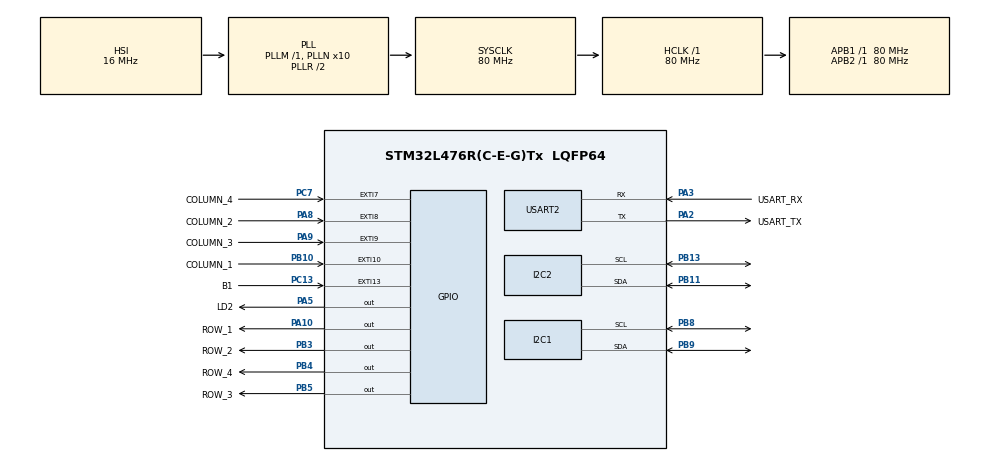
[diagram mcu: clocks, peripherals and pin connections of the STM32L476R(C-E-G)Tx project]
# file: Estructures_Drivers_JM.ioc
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I2C1.Timing=0x10909CEC
I2C2.Timing=0x10909CEC
Mcu.Family=STM32L4
Mcu.Name=STM32L476R(C-E-G)Tx
Mcu.Package=LQFP64
NVIC.EXTI15_10_IRQn=true\:0\:0\:false\:false\:true\:true\:true\:true
NVIC.EXTI9_5_IRQn=true\:0\:0\:false\:false\:true\:true\:true\:true
NVIC.PriorityGroup=NVIC_PRIORITYGROUP_4
NVIC.USART2_IRQn=true\:0\:0\:false\:false\:true\:true\:true\:true
PA10.GPIO_Label=ROW_1
PA10.Signal=GPIO_Output
PA13\ (JTMS-SWDIO).GPIO_Label=TMS
PA13\ (JTMS-SWDIO).Mode=Serial_Wire
PA13\ (JTMS-SWDIO).Signal=SYS_JTMS-SWDIO
PA14\ (JTCK-SWCLK).GPIO_Label=TCK
PA14\ (JTCK-SWCLK).Mode=Serial_Wire
PA14\ (JTCK-SWCLK).Signal=SYS_JTCK-SWCLK
PA2.GPIO_Label=USART_TX
PA2.GPIO_Mode=GPIO_MODE_AF_PP
PA2.GPIO_PuPd=GPIO_NOPULL
PA2.GPIO_Speed=GPIO_SPEED_FREQ_VERY_HIGH
PA2.Mode=Asynchronous
PA2.Signal=USART2_TX
PA3.GPIO_Label=USART_RX
PA3.GPIO_Mode=GPIO_MODE_AF_PP
PA3.GPIO_PuPd=GPIO_NOPULL
PA3.GPIO_Speed=GPIO_SPEED_FREQ_VERY_HIGH
PA3.Mode=Asynchronous
PA3.Signal=USART2_RX
PA5.GPIO_Label=LD2
PA5.Signal=GPIO_Output
PA8.GPIO_Label=COLUMN_2
PA8.GPIO_PuPd=GPIO_PULLDOWN
PA8.Signal=GPXTI8
PA9.GPIO_Label=COLUMN_3
PA9.GPIO_PuPd=GPIO_PULLDOWN
PA9.Signal=GPXTI9
PB10.GPIO_Label=COLUMN_1
PB10.GPIO_PuPd=GPIO_PULLDOWN
PB10.Signal=GPXTI10
PB11.Mode=I2C
PB11.Signal=I2C2_SDA
PB13.Mode=I2C
PB13.Signal=I2C2_SCL
PB3\ (JTDO-TRACESWO).GPIO_Label=ROW_2
PB3\ (JTDO-TRACESWO).Signal=GPIO_Output
PB4\ (NJTRST).GPIO_Label=ROW_4
PB4\ (NJTRST).Signal=GPIO_Output
PB5.GPIO_Label=ROW_3
PB5.Signal=GPIO_Output
PB8.Mode=I2C
PB8.Signal=I2C1_SCL
PB9.Mode=I2C
PB9.Signal=I2C1_SDA
PC13.GPIO_Label=B1
PC13.Signal=GPXTI13
PC14-OSC32_IN\ (PC14).Mode=LSE-External-Oscillator
PC14-OSC32_IN\ (PC14).Signal=RCC_OSC32_IN
PC15-OSC32_OUT\ (PC15).Mode=LSE-External-Oscillator
PC15-OSC32_OUT\ (PC15).Signal=RCC_OSC32_OUT
PC7.GPIO_Label=COLUMN_4
PC7.GPIO_PuPd=GPIO_PULLDOWN
PC7.Signal=GPXTI7
PH0-OSC_IN\ (PH0).Signal=RCC_OSC_IN
PH1-OSC_OUT\ (PH1).Signal=RCC_OSC_OUT
ProjectManager.HeapSize=0x200
ProjectManager.StackSize=0x400
ProjectManager.TargetToolchain=STM32CubeIDE
RCC.ADCFreq_Value=64000000
RCC.AHBFreq_Value=80000000
RCC.APB1Freq_Value=80000000
RCC.APB1TimFreq_Value=80000000
RCC.APB2Freq_Value=80000000
RCC.APB2TimFreq_Value=80000000
RCC.CortexFreq_Value=80000000
RCC.HCLKFreq_Value=80000000
RCC.HSE_VALUE=8000000
RCC.HSI_VALUE=16000000
RCC.MSI_VALUE=4000000
RCC.PLLN=10
RCC.PLLSourceVirtual=RCC_PLLSOURCE_HSI
RCC.PREFETCH_ENABLE=1
RCC.SYSCLKFreq_VALUE=80000000
RCC.SYSCLKSource=RCC_SYSCLKSOURCE_PLLCLK
RCC.USBFreq_Value=64000000
RCC.VCOOutputFreq_Value=160000000
USART2.VirtualMode-Asynchronous=VM_ASYNC
board=NUCLEO-L476RG

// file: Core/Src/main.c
/* USER CODE BEGIN Header */
/**
  ******************************************************************************
  * @file           : main.c
  * @brief          : Main program body
  ******************************************************************************
  * @attention
  *
  * Copyright (c) 2023 STMicroelectronics.
  * All rights reserved.
  *
  * This software is licensed under terms that can be found in the LICENSE file
  * in the root directory of this software component.
  * If no LICENSE file comes with this software, it is provided AS-IS.
  *
  ******************************************************************************
  */
/* USER CODE END Header */
#include "main.h"

/* USER CODE BEGIN Includes */
#include <stdio.h>
#include <string.h>
#include "ring_buffer.h"
#include "Keypad.h"
#include <ssd1306.h>
#include <ssd1306_fonts.h>
/* USER CODE END Includes */

I2C_HandleTypeDef hi2c1;
I2C_HandleTypeDef hi2c2;

UART_HandleTypeDef huart2;

/* USER CODE BEGIN PV */
ring_buffer_t ring_buffer_uart_rx;
uint8_t rx_buffer[5];
uint8_t rx_data;
uint8_t code[]={0x02,0x00,0x00,0x03,0x0F};
uint16_t key_event = 0xFF;
uint8_t key_pressed;
/* USER CODE END PV */

void SystemClock_Config(void);
static void MX_GPIO_Init(void);
static void MX_USART2_UART_Init(void);
static void MX_I2C2_Init(void);
static void MX_I2C1_Init(void);

/* USER CODE BEGIN 0 */

int _write(int file, char *ptr, int len)
{
  HAL_UART_Transmit(&huart2, (uint8_t *)ptr, len, HAL_MAX_DELAY);
  return len;
}
/**
  * @brief  Rx Transfer completed callback.
  * @param  huart UART handle.
  * @retval None
  */
void HAL_UART_RxCpltCallback(UART_HandleTypeDef *huart)
{
	ring_buffer_put(&ring_buffer_uart_rx, key_pressed);

	HAL_UART_Receive_IT(&huart2, &key_pressed, 1);
}

/**
  * @brief  EXTI line detection callback.
  * @param  GPIO_Pin Specifies the port pin connected
  *         to corresponding EXTI line.
  * @retval None
  */
void HAL_GPIO_EXTI_Callback(uint16_t GPIO_Pin)
{
	key_event = GPIO_Pin;
}

//int memcmp(const void *str1, const void *str2, size_t n);
/**
 * @brief This functions initialize the functionality of the keypad
 */

/**
 * @brief  This function debounces and identify keypad events.
 * @param  column_to_evaluate: the column where the event happened.
 * @retval 0xFF -> invalid key. [0x00 - 0x0F] -> valid key.
 */

/* USER CODE END 0 */

int main(void)
{

  /* MCU Configuration--------------------------------------------------------*/

  /* Reset of all peripherals, Initializes the Flash interface and the Systick. */
  HAL_Init();

  /* Configure the system clock */
  SystemClock_Config();

  /* Initialize all configured peripherals */
  MX_GPIO_Init();
  MX_USART2_UART_Init();
  MX_I2C2_Init();
  MX_I2C1_Init();
  /* USER CODE BEGIN 2 */
  ring_buffer_init(&ring_buffer_uart_rx, rx_buffer, 5);

  HAL_UART_Receive_IT(&huart2, &rx_data, 1);
  keypad_init();

  /* USER CODE END 2 */

  /* Infinite loop */
  /* USER CODE BEGIN WHILE */
  while (1)
  {

	  if (key_event != 0xFF) { // check if there is a event from the EXTi callback
		  uint16_t key_pressed = keypad_handler(key_event); // call the keypad handler

			  if(key_pressed != 0xFF ){
				  printf("Tecla presionada %x\r\n", key_pressed); // print the key pressed in YAT
				  ring_buffer_put(&ring_buffer_uart_rx, key_pressed);

			  }

			  key_event = 0xFF; // clean the event

			  if(key_pressed==0x0E){ //if the key pressed is * resets the program

				  ring_buffer_reset(&ring_buffer_uart_rx);//Reset of ring_buffer
				  	  printf("RESE");//print reset in terminal
				  	  ssd1306_Init(); //initializes the display and shows the message
				  	  ssd1306_SetCursor(50, 50);
				      ssd1306_Fill(Black);
				      ssd1306_WriteString("RESET", Font_7x10, White);
				      ssd1306_UpdateScreen();

			  }

			  if(memcmp(rx_buffer, code, 5)==0 && ring_buffer_is_full(&ring_buffer_uart_rx)==1)//generates "pass" message when the combination is correct
			  {

				  ssd1306_Init();//initializes the display and shows the message
				      ssd1306_Fill(Black);
				      ssd1306_SetCursor(50, 50);
				      ssd1306_WriteString("PASS", Font_7x10, White);
				      ssd1306_UpdateScreen();

			  }

			  if(memcmp(rx_buffer, code, 5)!=0 && ring_buffer_is_full(&ring_buffer_uart_rx)==1) //compares the correct combination with the one delivered and generates the message "fail" when the combination is incorrect.
			  {

				  ssd1306_Init();//initializes the display and shows the message
				      ssd1306_Fill(Black);
				      ssd1306_SetCursor(50, 50);
				      ssd1306_WriteString("FAIL", Font_7x10, White);
				      ssd1306_UpdateScreen();

			  }

			  if(ring_buffer_is_full(&ring_buffer_uart_rx)==1)//shows the sequence if buffer ring is full
			  {

			printf("secuencia %x , %x , %x , %x , %x \r\n",rx_buffer[0],rx_buffer[1],rx_buffer[2],rx_buffer[3],rx_buffer[4]);
				ring_buffer_reset(&ring_buffer_uart_rx);

			  }

		  }

	  }

    /* USER CODE END WHILE */

}

void SystemClock_Config(void)
{
  RCC_OscInitTypeDef RCC_OscInitStruct = {0};
  RCC_ClkInitTypeDef RCC_ClkInitStruct = {0};

  /** Configure the main internal regulator output voltage
  */
  if (HAL_PWREx_ControlVoltageScaling(PWR_REGULATOR_VOLTAGE_SCALE1) != HAL_OK)
  {
    Error_Handler();
  }

  /** Initializes the RCC Oscillators according to the specified parameters
  * in the RCC_OscInitTypeDef structure.
  */
  RCC_OscInitStruct.OscillatorType = RCC_OSCILLATORTYPE_HSI;
  RCC_OscInitStruct.HSIState = RCC_HSI_ON;
  RCC_OscInitStruct.HSICalibrationValue = RCC_HSICALIBRATION_DEFAULT;
  RCC_OscInitStruct.PLL.PLLState = RCC_PLL_ON;
  RCC_OscInitStruct.PLL.PLLSource = RCC_PLLSOURCE_HSI;
  RCC_OscInitStruct.PLL.PLLM = 1;
  RCC_OscInitStruct.PLL.PLLN = 10;
  RCC_OscInitStruct.PLL.PLLP = RCC_PLLP_DIV7;
  RCC_OscInitStruct.PLL.PLLQ = RCC_PLLQ_DIV2;
  RCC_OscInitStruct.PLL.PLLR = RCC_PLLR_DIV2;
  if (HAL_RCC_OscConfig(&RCC_OscInitStruct) != HAL_OK)
  {
    Error_Handler();
  }

  /** Initializes the CPU, AHB and APB buses clocks
  */
  RCC_ClkInitStruct.ClockType = RCC_CLOCKTYPE_HCLK|RCC_CLOCKTYPE_SYSCLK
                              |RCC_CLOCKTYPE_PCLK1|RCC_CLOCKTYPE_PCLK2;
  RCC_ClkInitStruct.SYSCLKSource = RCC_SYSCLKSOURCE_PLLCLK;
  RCC_ClkInitStruct.AHBCLKDivider = RCC_SYSCLK_DIV1;
  RCC_ClkInitStruct.APB1CLKDivider = RCC_HCLK_DIV1;
  RCC_ClkInitStruct.APB2CLKDivider = RCC_HCLK_DIV1;

  if (HAL_RCC_ClockConfig(&RCC_ClkInitStruct, FLASH_LATENCY_4) != HAL_OK)
  {
    Error_Handler();
  }
}

static void MX_I2C1_Init(void)
{

  hi2c1.Instance = I2C1;
  hi2c1.Init.Timing = 0x10909CEC;
  hi2c1.Init.OwnAddress1 = 0;
  hi2c1.Init.AddressingMode = I2C_ADDRESSINGMODE_7BIT;
  hi2c1.Init.DualAddressMode = I2C_DUALADDRESS_DISABLE;
  hi2c1.Init.OwnAddress2 = 0;
  hi2c1.Init.OwnAddress2Masks = I2C_OA2_NOMASK;
  hi2c1.Init.GeneralCallMode = I2C_GENERALCALL_DISABLE;
  hi2c1.Init.NoStretchMode = I2C_NOSTRETCH_DISABLE;
  if (HAL_I2C_Init(&hi2c1) != HAL_OK)
  {
    Error_Handler();
  }

  /** Configure Analogue filter
  */
  if (HAL_I2CEx_ConfigAnalogFilter(&hi2c1, I2C_ANALOGFILTER_ENABLE) != HAL_OK)
  {
    Error_Handler();
  }

  /** Configure Digital filter
  */
  if (HAL_I2CEx_ConfigDigitalFilter(&hi2c1, 0) != HAL_OK)
  {
    Error_Handler();
  }

}

static void MX_I2C2_Init(void)
{

  hi2c2.Instance = I2C2;
  hi2c2.Init.Timing = 0x10909CEC;
  hi2c2.Init.OwnAddress1 = 0;
  hi2c2.Init.AddressingMode = I2C_ADDRESSINGMODE_7BIT;
  hi2c2.Init.DualAddressMode = I2C_DUALADDRESS_DISABLE;
  hi2c2.Init.OwnAddress2 = 0;
  hi2c2.Init.OwnAddress2Masks = I2C_OA2_NOMASK;
  hi2c2.Init.GeneralCallMode = I2C_GENERALCALL_DISABLE;
  hi2c2.Init.NoStretchMode = I2C_NOSTRETCH_DISABLE;
  if (HAL_I2C_Init(&hi2c2) != HAL_OK)
  {
    Error_Handler();
  }

  /** Configure Analogue filter
  */
  if (HAL_I2CEx_ConfigAnalogFilter(&hi2c2, I2C_ANALOGFILTER_ENABLE) != HAL_OK)
  {
    Error_Handler();
  }

  /** Configure Digital filter
  */
  if (HAL_I2CEx_ConfigDigitalFilter(&hi2c2, 0) != HAL_OK)
  {
    Error_Handler();
  }

}

static void MX_USART2_UART_Init(void)
{

  huart2.Instance = USART2;
  huart2.Init.BaudRate = 115200;
  huart2.Init.WordLength = UART_WORDLENGTH_8B;
  huart2.Init.StopBits = UART_STOPBITS_1;
  huart2.Init.Parity = UART_PARITY_NONE;
  huart2.Init.Mode = UART_MODE_TX_RX;
  huart2.Init.HwFlowCtl = UART_HWCONTROL_NONE;
  huart2.Init.OverSampling = UART_OVERSAMPLING_16;
  huart2.Init.OneBitSampling = UART_ONE_BIT_SAMPLE_DISABLE;
  huart2.AdvancedInit.AdvFeatureInit = UART_ADVFEATURE_NO_INIT;
  if (HAL_UART_Init(&huart2) != HAL_OK)
  {
    Error_Handler();
  }

}

static void MX_GPIO_Init(void)
{
  GPIO_InitTypeDef GPIO_InitStruct = {0};

  /* GPIO Ports Clock Enable */
  __HAL_RCC_GPIOC_CLK_ENABLE();
  __HAL_RCC_GPIOH_CLK_ENABLE();
  __HAL_RCC_GPIOA_CLK_ENABLE();
  __HAL_RCC_GPIOB_CLK_ENABLE();

  /*Configure GPIO pin Output Level */
  HAL_GPIO_WritePin(GPIOA, LD2_Pin|ROW_1_Pin, GPIO_PIN_RESET);

  /*Configure GPIO pin Output Level */
  HAL_GPIO_WritePin(GPIOB, ROW_2_Pin|ROW_4_Pin|ROW_3_Pin, GPIO_PIN_RESET);

  /*Configure GPIO pin : B1_Pin */
  GPIO_InitStruct.Pin = B1_Pin;
  GPIO_InitStruct.Mode = GPIO_MODE_IT_RISING;
  GPIO_InitStruct.Pull = GPIO_NOPULL;
  HAL_GPIO_Init(B1_GPIO_Port, &GPIO_InitStruct);

  /*Configure GPIO pins : LD2_Pin ROW_1_Pin */
  GPIO_InitStruct.Pin = LD2_Pin|ROW_1_Pin;
  GPIO_InitStruct.Mode = GPIO_MODE_OUTPUT_PP;
  GPIO_InitStruct.Pull = GPIO_NOPULL;
  GPIO_InitStruct.Speed = GPIO_SPEED_FREQ_LOW;
  HAL_GPIO_Init(GPIOA, &GPIO_InitStruct);

  /*Configure GPIO pin : COLUMN_1_Pin */
  GPIO_InitStruct.Pin = COLUMN_1_Pin;
  GPIO_InitStruct.Mode = GPIO_MODE_IT_RISING;
  GPIO_InitStruct.Pull = GPIO_PULLDOWN;
  HAL_GPIO_Init(COLUMN_1_GPIO_Port, &GPIO_InitStruct);

  /*Configure GPIO pin : COLUMN_4_Pin */
  GPIO_InitStruct.Pin = COLUMN_4_Pin;
  GPIO_InitStruct.Mode = GPIO_MODE_IT_RISING;
  GPIO_InitStruct.Pull = GPIO_PULLDOWN;
  HAL_GPIO_Init(COLUMN_4_GPIO_Port, &GPIO_InitStruct);

  /*Configure GPIO pins : COLUMN_2_Pin COLUMN_3_Pin */
  GPIO_InitStruct.Pin = COLUMN_2_Pin|COLUMN_3_Pin;
  GPIO_InitStruct.Mode = GPIO_MODE_IT_RISING;
  GPIO_InitStruct.Pull = GPIO_PULLDOWN;
  HAL_GPIO_Init(GPIOA, &GPIO_InitStruct);

  /*Configure GPIO pins : ROW_2_Pin ROW_4_Pin ROW_3_Pin */
  GPIO_InitStruct.Pin = ROW_2_Pin|ROW_4_Pin|ROW_3_Pin;
  GPIO_InitStruct.Mode = GPIO_MODE_OUTPUT_PP;
  GPIO_InitStruct.Pull = GPIO_NOPULL;
  GPIO_InitStruct.Speed = GPIO_SPEED_FREQ_LOW;
  HAL_GPIO_Init(GPIOB, &GPIO_InitStruct);

  /* EXTI interrupt init*/
  HAL_NVIC_SetPriority(EXTI9_5_IRQn, 0, 0);
  HAL_NVIC_EnableIRQ(EXTI9_5_IRQn);

  HAL_NVIC_SetPriority(EXTI15_10_IRQn, 0, 0);
  HAL_NVIC_EnableIRQ(EXTI15_10_IRQn);

}

void Error_Handler(void)
{
  __disable_irq();
  while (1)
  {
  }
}
